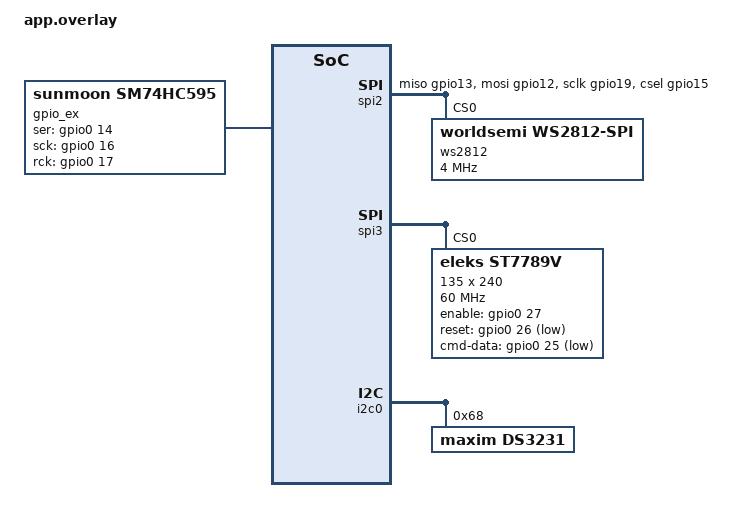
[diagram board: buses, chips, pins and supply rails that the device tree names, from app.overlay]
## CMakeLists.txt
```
cmake_minimum_required(VERSION 3.20.0)

list(APPEND ZEPHYR_EXTRA_MODULES ${CMAKE_SOURCE_DIR}/modules/sm74hc595)
list(APPEND ZEPHYR_EXTRA_MODULES ${CMAKE_SOURCE_DIR}/modules/st7789v_eleks)

find_package(Zephyr REQUIRED HINTS $ENV{ZEPHYR_BASE})
project(EleksTubeIPS)

FILE(GLOB app_sources src/*.c)
target_sources(app PRIVATE ${app_sources})
```

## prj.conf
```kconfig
CONFIG_LV_Z_MEM_POOL_NUMBER_BLOCKS=8
CONFIG_MAIN_STACK_SIZE=4096

CONFIG_LOG=y
CONFIG_SHELL=y

CONFIG_SPI=y
CONFIG_LED_STRIP=y
CONFIG_WS2812_STRIP=y
CONFIG_WS2812_STRIP_SPI=y
CONFIG_DISPLAY=y

CONFIG_I2C=y
CONFIG_COUNTER=y
CONFIG_COUNTER_MAXIM_DS3231=y
CONFIG_COUNTER_INIT_PRIORITY=65

CONFIG_LVGL=y
CONFIG_LV_MEM_CUSTOM=y
CONFIG_LV_USE_LOG=y
CONFIG_LV_USE_LABEL=y
CONFIG_LV_USE_BTN=y
CONFIG_LV_USE_IMG=y
CONFIG_LV_FONT_MONTSERRAT_48=y
CONFIG_LV_Z_DOUBLE_VDB=y
CONFIG_LV_DISP_DEF_REFR_PERIOD=10
```

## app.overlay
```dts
#include <dt-bindings/spi/spi.h>
#include <dt-bindings/led/led.h>
#include <dt-bindings/pinctrl/esp32-pinctrl.h>

/ {
	chosen {
		zephyr,display = &st7789v;
	};

	aliases {
		rgb = &ws2812;
		rtc = &ds3231;
	};

	gpio_ex: sm74hc595 {
		compatible = "sunmoon,sm74hc595";
		ser-gpios = <&gpio0 14 0>;
		sck-gpios = <&gpio0 16 0>;
		rck-gpios = <&gpio0 17 0>;
	};
};

&pinctrl {
	spim2_mosi_gpio12: spim2_mosi_gpio12 {
		pinmux = <SPIM2_MOSI_GPIO12>;
	};

	spim2_miso_gpio13: spim2_miso_gpio13 {
		pinmux = <SPIM2_MISO_GPIO13>;
	};

	spim2_sclk_gpio19: spim2_sclk_gpio19 {
		pinmux = <SPIM2_SCLK_GPIO19>;
	};
};

&spi2 {
	pinctrl-0 = <&spim2_miso_gpio13 &spim2_mosi_gpio12
				 &spim2_sclk_gpio19 &spim2_csel_gpio15>;

	ws2812: ws2812@0 {
		compatible = "worldsemi,ws2812-spi";
		label = "ws2812";

		reg = <0>;
		spi-max-frequency = <4000000>;

		chain-length = <6>;
		spi-one-frame = <0x70>;
		spi-zero-frame = <0x40>;
		color-mapping = <LED_COLOR_ID_GREEN LED_COLOR_ID_RED LED_COLOR_ID_BLUE>;
	};
};

&spi3 {
	use-iomux;
	st7789v: st7789v@0{
		compatible = "eleks,st7789v";
		label = "st7789v";

		reg = <0>;
		spi-max-frequency = <60000000>;

		enable-gpios = <&gpio0 27 GPIO_ACTIVE_HIGH>;
		reset-gpios = <&gpio0 26 GPIO_ACTIVE_LOW>;
		cmd-data-gpios = <&gpio0 25 GPIO_ACTIVE_LOW>;

		width = <135>;
		height = <240>;
		x-offset = <52>;
		y-offset = <40>;

		vcom = <0x19>;
		gctrl = <0x35>;
		vrhs = <0x12>;
		vdvs = <0x20>;
		mdac = <0x00>;
		lcm = <0x2c>;
		colmod = <0x05>;
		gamma = <0x01>;
		porch-param = [0c 0c 00 33 33];
		cmd2en-param = [5a 69 02 01];
		pwctrl1-param = [a4 a1];
		pvgam-param = [d0 04 0d 11 13 2b 3f 54 4c 18 0d 0b 1f 23];
		nvgam-param = [d0 04 0c 11 13 2c 3f 44 51 2f 1f 1f 20 23];
		ram-param = [00 f8];
		rgb-param = [cd 08 14];
	};
};

&i2c0 {
	ds3231: ds3231@68 {
		compatible = "maxim,ds3231";
		reg = <0x68>;
		label = "DS3231";
	};
};
```

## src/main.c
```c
#include <device.h>
#include <drivers/counter.h>
#include <drivers/display.h>
#include <drivers/gpio.h>
#include <drivers/led_strip.h>
#include <drivers/rtc/maxim_ds3231.h>
#include <logging/log.h>
#include <lvgl.h>
#include <zephyr.h>

#include "pinout.h"

LOG_MODULE_REGISTER(main);

static const struct device *rgb_dev = DEVICE_DT_GET(RGB_NODE);
static const struct device *rtc_dev = DEVICE_DT_GET(RTC_NODE);
static const struct device *display_dev = DEVICE_DT_GET(DISPLAY_NODE);

static lv_obj_t *make_text(uint8_t screen_idx);

void
main(void)
{
	if (!device_is_ready(rgb_dev)) {
		LOG_ERR("RGB LED device %s is not ready", rgb_dev->name);
		return;
	}

	struct led_rgb rgb[] = {
		{.r = 0xFF, .g = 0x00, .b = 0x00},
		{.r = 0x00, .g = 0xFF, .b = 0x00},
		{.r = 0x00, .g = 0x00, .b = 0xFF},
		{.r = 0xFF, .g = 0x00, .b = 0x00},
		{.r = 0x00, .g = 0xFF, .b = 0x00},
		{.r = 0x00, .g = 0x00, .b = 0xFF},
		{.r = 0xFF, .g = 0x00, .b = 0x00},
		{.r = 0x00, .g = 0xFF, .b = 0x00},
	};

	LOG_INF("[DS3231] Sync clock freq %u Hz", maxim_ds3231_syncclock_frequency(rtc_dev));

	int stat = maxim_ds3231_stat_update(rtc_dev, 0, MAXIM_DS3231_REG_STAT_OSF);
	if (stat >= 0) {
		LOG_INF("[DS3231] Oscillator fault?: %lu", (stat & MAXIM_DS3231_REG_STAT_OSF));
	} else {
		LOG_INF("[DS3231] Stat fetch failed: %d", stat);
		return;
	}

	LOG_INF("[DS3231] Max top value: %u (%08x)", counter_get_max_top_value(rtc_dev),
		counter_get_max_top_value(rtc_dev));
	LOG_INF("[DS3231] Channels: %u", counter_get_num_of_channels(rtc_dev));
	LOG_INF("[DS3231] Freq: %u Hz", counter_get_frequency(rtc_dev));
	LOG_INF("[DS3231] Top counter value: %u (%08x)", counter_get_top_value(rtc_dev),
		counter_get_top_value(rtc_dev));

	LOG_INF("[DS3231] ctrl %02x ; ctrl_stat %02x", maxim_ds3231_ctrl_update(rtc_dev, 0, 0),
		maxim_ds3231_stat_update(rtc_dev, 0, 0));

	char count_str[11] = {0};
	if (!device_is_ready(display_dev)) {
		LOG_ERR("Device not ready, aborting test");
		return;
	}

	lv_obj_t *nums[DISPLAY_NUM_SCREENS];
	for (int i = 0; i < DISPLAY_NUM_SCREENS; i++) {
		nums[i] = make_text(i);
	}

	lv_task_handler();
	display_blanking_off(display_dev);

	uint32_t now = 0;
	while (1) {
		counter_get_value(rtc_dev, &now);

		sprintf(count_str, "%u", now);
		char *start = count_str + strlen(count_str) - 6;
		for (int i = DISPLAY_NUM_SCREENS - 1; i >= 0; i--) {
			start[i + 1] = '\0';
			lv_label_set_text(nums[i], start + i);
		}

		lv_task_handler();
		k_sleep(K_MSEC(100));
	}
}

extern const lv_font_t ubmn_200;

static lv_obj_t *
make_text(uint8_t screen_idx)
{
	lv_obj_t *rect = lv_obj_create(lv_scr_act());
	lv_obj_set_pos(rect, DISPLAY_SCREEN_WIDTH * screen_idx, 0);
	lv_obj_set_size(rect, DISPLAY_SCREEN_WIDTH, DISPLAY_HEIGHT);
	lv_obj_set_style_bg_color(rect, lv_color_make(0x00, 0x00, 0x00), LV_STATE_DEFAULT);
	lv_obj_set_style_border_width(rect, 0, LV_STATE_DEFAULT);
	lv_obj_set_style_shadow_width(rect, 0, LV_STATE_DEFAULT);
	lv_obj_set_style_radius(rect, 0, LV_STATE_DEFAULT);

	lv_obj_t *label = lv_label_create(rect);
	lv_obj_align(label, LV_ALIGN_CENTER, 0, 0);
	lv_obj_set_style_text_font(label, &ubmn_200, LV_STATE_DEFAULT);
	lv_obj_set_style_text_color(label, lv_color_make(0x96, 0xc3, 0xde), LV_STATE_DEFAULT);
	lv_label_set_text(label, "0");

	return label;
}
```

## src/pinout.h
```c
#ifndef __PROJECT_PINOUT_H__
#define __PROJECT_PINOUT_H__

#include <zephyr.h>

#define RGB_NODE DT_ALIAS(rgb)
#define RGB_NUM_PIXELS DT_PROP(RGB_NODE, chain_length)

#define RTC_NODE DT_ALIAS(rtc)

#define DISPLAY_NODE DT_CHOSEN(zephyr_display)
#define DISPLAY_WIDTH DT_PROP(DISPLAY_NODE, width)
#define DISPLAY_HEIGHT DT_PROP(DISPLAY_NODE, height)
#define DISPLAY_NUM_SCREENS DT_PROP(DISPLAY_NODE, screens)
#define DISPLAY_SCREEN_WIDTH (DISPLAY_WIDTH / DISPLAY_NUM_SCREENS)

#endif  // __PROJECT_PINOUT_H__
```
